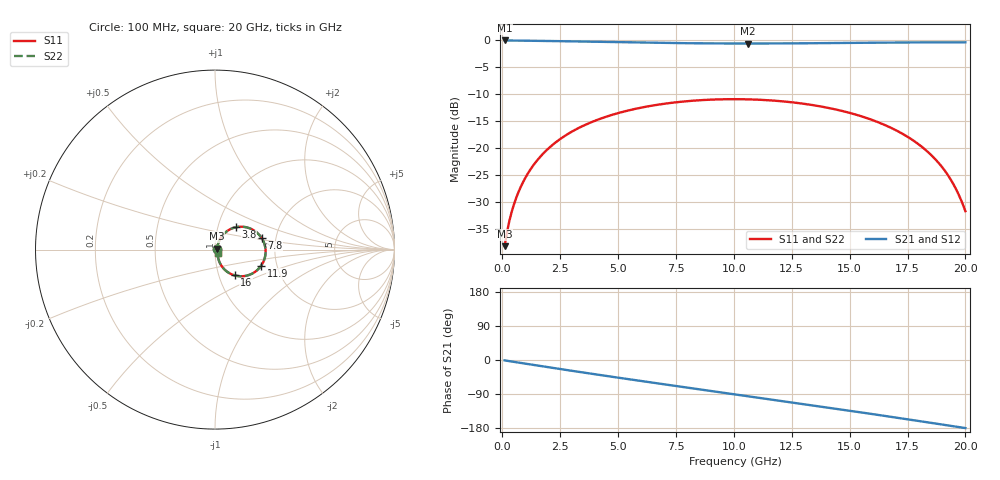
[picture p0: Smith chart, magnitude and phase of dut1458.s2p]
! Touchstone file exported from HFSS 2026.1.0
!  File:  C:/ffzhzh/LocalFiles/Ansys_Project_Files/temp_train_TSV_RDL_1458_1783359687_46376.aedt
!  Generated:  01:51:30 AM Jul  7, 2026
!  Design:  TSV_RDL
!  Project:  temp_train_TSV_RDL_1458_1783359687_46376
! Variables:
!  h_bsmrdl = 4.59um
!  h_ox = 20um
!  h_rdl = 5um
!  h_sub = 72.52um
!  h_tmrdl = 5.95um
!  h_tsv = 72.52um
!  h_via = 3um
!  l_bsmrdl = 388.26um
!  l_sub = 2993.83um
!  l_tmrdl = 327.57um
!  m_sub = 200um
!  pitch = 33.88um
!  r_tsv = 9.26um
!  s_tmrdl = 10um
!  w_bsmrdl = 15.94um
!  w_sub = 500um
!  w_tmrdl = 23.65um
!  x_tsv_center1 = 339.395um
!  x_tsv_center2 = 743.595um
!  x_tsv_center3 = 1094.815um
!  x_tsv_center4 = 1499.015um
!  x_tsv_center5 = 1850.235um
!  x_tsv_center6 = 2254.435um
# GHz S MA R 50.000000
! Terminal data exported
! Port[1] = TM_RDL1_1_T1
! Port[2] = TM_RDL5_1_T1
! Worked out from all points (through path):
!   200 points, 100 MHz to 20 GHz, reference 50 ohm
!   highest |S21| = -0.09 dB at 100 MHz (marker M1); lowest = -0.7 dB at 10.6 GHz (marker M2)
!   group delay of S21, straight-line fit = 24.6 ps
!   lowest |S11| = -38.3 dB at 100 MHz (marker M3), VSWR 1.02, Z = 51.1 + j0.605 ohm
!   |S11| at or under -10 dB: start of sweep to end of sweep
!   |S22| runs from -38.3 to -11.0 dB; largest |S21 - S12| = 1.9e-13
!   S11 on the Smith chart (normalised r, x): 100 MHz: 1.02, +0.01; 3.8 GHz: 1.22, +0.31; 7.8 GHz: 1.68, +0.23; 11.9 GHz: 1.65, -0.33; 16 GHz: 1.19, -0.35; 20 GHz: 1.03, -0.04
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0.1  0.01222 29.0  0.9894 -1.0  0.9894 -1.0  0.01222 29.0
! Gamma 0 0 0 0
! Port Impedance 50 0 50 0
0.3  0.02074 51.5  0.9878 -3.0  0.9878 -3.0  0.02074 51.5
0.5  0.02969 59.1  0.9867 -4.9  0.9867 -4.9  0.02969 59.1
0.8  0.04347 63.6  0.9853 -7.8  0.9853 -7.8  0.04347 63.6
1.2  0.06219 64.6  0.9833 -11.6  0.9833 -11.6  0.06219 64.6
1.7  0.08532 62.7  0.9802 -16.3  0.9802 -16.3  0.08532 62.7
2.2  0.1076 59.5  0.9765 -21.0  0.9765 -21.0  0.1076 59.5
3.5  0.1601 49.3  0.9654 -33.1  0.9654 -33.1  0.1601 49.3
3.8  0.171 46.8  0.9628 -35.8  0.9628 -35.8  0.171 46.8
5.3  0.218 34.3  0.9499 -49.3  0.9499 -49.3  0.218 34.3
6.8  0.2524 21.9  0.9391 -62.5  0.9391 -62.5  0.2524 21.9
7.8  0.2681 13.7  0.9336 -71.2  0.9336 -71.2  0.2682 13.7
10.1  0.2823 -5.0  0.9272 -91.0  0.9272 -91.0  0.2823 -5.1
10.6  0.2813 -9.1  0.927 -95.3  0.927 -95.3  0.2813 -9.1
11.9  0.2719 -19.7  0.9283 -106.5  0.9283 -106.5  0.2719 -19.7
13.4  0.2489 -31.9  0.9324 -119.6  0.9324 -119.6  0.2489 -31.9
16  0.1803 -52.8  0.943 -142.8  0.943 -142.8  0.1803 -52.8
16.7  0.1563 -58.1  0.9456 -149.2  0.9456 -149.2  0.1563 -58.2
17.9  0.1108 -66.4  0.9492 -160.2  0.9492 -160.2  0.1109 -66.4
18.8  0.0742 -70.3  0.9507 -168.5  0.9507 -168.5  0.07423 -70.3
19.5  0.04521 -68.5  0.951 -175.0  0.951 -175.0  0.04526 -68.5
20  0.02581 -55.9  0.9507 -179.6  0.9507 -179.6  0.02588 -55.8
